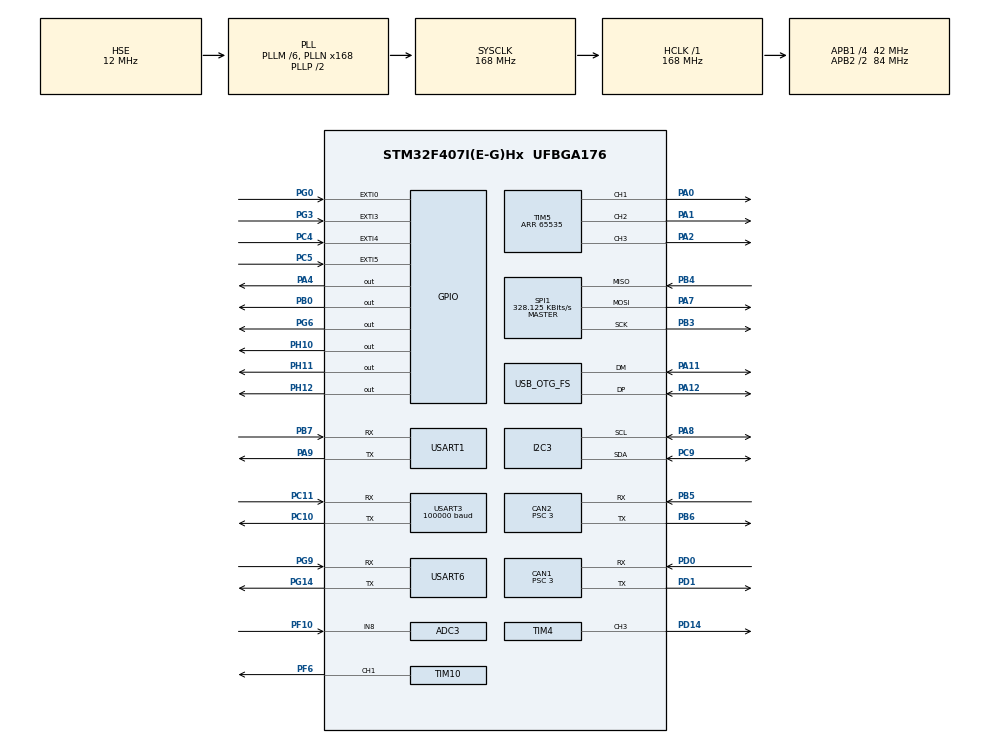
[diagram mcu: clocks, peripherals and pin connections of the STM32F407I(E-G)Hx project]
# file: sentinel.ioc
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ADC1.Channel-0\#ChannelRegularConversion=ADC_CHANNEL_TEMPSENSOR
ADC1.ClockPrescaler=ADC_CLOCK_SYNC_PCLK_DIV4
ADC1.NbrOfConversionFlag=1
ADC1.Rank-0\#ChannelRegularConversion=1
ADC1.SamplingTime-0\#ChannelRegularConversion=ADC_SAMPLETIME_3CYCLES
ADC1.master=1
ADC3.Channel-1\#ChannelRegularConversion=ADC_CHANNEL_8
ADC3.ClockPrescaler=ADC_CLOCK_SYNC_PCLK_DIV4
ADC3.NbrOfConversionFlag=1
ADC3.Rank-1\#ChannelRegularConversion=1
ADC3.SamplingTime-1\#ChannelRegularConversion=ADC_SAMPLETIME_3CYCLES
CAN1.BS1=CAN_BS1_10TQ
CAN1.BS2=CAN_BS2_3TQ
CAN1.CalculateBaudRate=1000000
CAN1.CalculateTimeBit=1000
CAN1.CalculateTimeQuantum=71.42857142857143
CAN1.NART=ENABLE
CAN1.Prescaler=3
CAN2.BS1=CAN_BS1_10TQ
CAN2.BS2=CAN_BS2_3TQ
CAN2.CalculateBaudRate=1000000
CAN2.CalculateTimeBit=1000
CAN2.CalculateTimeQuantum=71.42857142857143
CAN2.NART=ENABLE
CAN2.Prescaler=3
Dma.Request0=SPI1_RX
Dma.Request1=SPI1_TX
Dma.Request2=USART1_RX
Dma.Request3=USART1_TX
Dma.Request4=USART3_RX
Dma.Request5=USART6_RX
Dma.Request6=USART6_TX
Dma.SPI1_RX.0.Direction=DMA_PERIPH_TO_MEMORY
Dma.SPI1_RX.0.FIFOMode=DMA_FIFOMODE_DISABLE
Dma.SPI1_RX.0.Instance=DMA2_Stream2
Dma.SPI1_RX.0.MemDataAlignment=DMA_MDATAALIGN_BYTE
Dma.SPI1_RX.0.MemInc=DMA_MINC_ENABLE
Dma.SPI1_RX.0.Mode=DMA_NORMAL
Dma.SPI1_RX.0.PeriphDataAlignment=DMA_PDATAALIGN_BYTE
Dma.SPI1_RX.0.PeriphInc=DMA_PINC_DISABLE
Dma.SPI1_RX.0.Priority=DMA_PRIORITY_VERY_HIGH
Dma.SPI1_TX.1.Direction=DMA_MEMORY_TO_PERIPH
Dma.SPI1_TX.1.FIFOMode=DMA_FIFOMODE_DISABLE
Dma.SPI1_TX.1.Instance=DMA2_Stream3
Dma.SPI1_TX.1.MemDataAlignment=DMA_MDATAALIGN_BYTE
Dma.SPI1_TX.1.MemInc=DMA_MINC_ENABLE
Dma.SPI1_TX.1.Mode=DMA_NORMAL
Dma.SPI1_TX.1.PeriphDataAlignment=DMA_PDATAALIGN_BYTE
Dma.SPI1_TX.1.PeriphInc=DMA_PINC_DISABLE
Dma.SPI1_TX.1.Priority=DMA_PRIORITY_HIGH
Dma.USART1_RX.2.Direction=DMA_PERIPH_TO_MEMORY
Dma.USART1_RX.2.FIFOMode=DMA_FIFOMODE_DISABLE
Dma.USART1_RX.2.Instance=DMA2_Stream5
Dma.USART1_RX.2.MemDataAlignment=DMA_MDATAALIGN_BYTE
Dma.USART1_RX.2.MemInc=DMA_MINC_ENABLE
Dma.USART1_RX.2.Mode=DMA_NORMAL
Dma.USART1_RX.2.PeriphDataAlignment=DMA_PDATAALIGN_BYTE
Dma.USART1_RX.2.PeriphInc=DMA_PINC_DISABLE
Dma.USART1_RX.2.Priority=DMA_PRIORITY_VERY_HIGH
Dma.USART1_TX.3.Direction=DMA_MEMORY_TO_PERIPH
Dma.USART1_TX.3.FIFOMode=DMA_FIFOMODE_DISABLE
Dma.USART1_TX.3.Instance=DMA2_Stream7
Dma.USART1_TX.3.MemDataAlignment=DMA_MDATAALIGN_BYTE
Dma.USART1_TX.3.MemInc=DMA_MINC_ENABLE
Dma.USART1_TX.3.Mode=DMA_NORMAL
Dma.USART1_TX.3.PeriphDataAlignment=DMA_PDATAALIGN_BYTE
Dma.USART1_TX.3.PeriphInc=DMA_PINC_DISABLE
Dma.USART1_TX.3.Priority=DMA_PRIORITY_HIGH
Dma.USART3_RX.4.Direction=DMA_PERIPH_TO_MEMORY
Dma.USART3_RX.4.FIFOMode=DMA_FIFOMODE_DISABLE
Dma.USART3_RX.4.Instance=DMA1_Stream1
Dma.USART3_RX.4.MemDataAlignment=DMA_MDATAALIGN_BYTE
Dma.USART3_RX.4.MemInc=DMA_MINC_ENABLE
Dma.USART3_RX.4.Mode=DMA_NORMAL
Dma.USART3_RX.4.PeriphDataAlignment=DMA_PDATAALIGN_BYTE
Dma.USART3_RX.4.PeriphInc=DMA_PINC_DISABLE
Dma.USART3_RX.4.Priority=DMA_PRIORITY_LOW
Dma.USART6_RX.5.Direction=DMA_PERIPH_TO_MEMORY
Dma.USART6_RX.5.FIFOMode=DMA_FIFOMODE_DISABLE
Dma.USART6_RX.5.Instance=DMA2_Stream1
Dma.USART6_RX.5.MemDataAlignment=DMA_MDATAALIGN_BYTE
Dma.USART6_RX.5.MemInc=DMA_MINC_ENABLE
Dma.USART6_RX.5.Mode=DMA_NORMAL
Dma.USART6_RX.5.PeriphDataAlignment=DMA_PDATAALIGN_BYTE
Dma.USART6_RX.5.PeriphInc=DMA_PINC_DISABLE
Dma.USART6_RX.5.Priority=DMA_PRIORITY_HIGH
Dma.USART6_TX.6.Direction=DMA_MEMORY_TO_PERIPH
Dma.USART6_TX.6.FIFOMode=DMA_FIFOMODE_DISABLE
Dma.USART6_TX.6.Instance=DMA2_Stream6
Dma.USART6_TX.6.MemDataAlignment=DMA_MDATAALIGN_BYTE
Dma.USART6_TX.6.MemInc=DMA_MINC_ENABLE
Dma.USART6_TX.6.Mode=DMA_NORMAL
Dma.USART6_TX.6.PeriphDataAlignment=DMA_PDATAALIGN_BYTE
Dma.USART6_TX.6.PeriphInc=DMA_PINC_DISABLE
Dma.USART6_TX.6.Priority=DMA_PRIORITY_VERY_HIGH
FREERTOS.INCLUDE_eTaskGetState=1
FREERTOS.INCLUDE_pcTaskGetTaskName=1
FREERTOS.INCLUDE_uxTaskGetStackHighWaterMark=1
FREERTOS.INCLUDE_vTaskCleanUpResources=1
FREERTOS.INCLUDE_vTaskDelayUntil=1
FREERTOS.INCLUDE_xEventGroupSetBitFromISR=1
FREERTOS.INCLUDE_xQueueGetMutexHolder=1
FREERTOS.INCLUDE_xSemaphoreGetMutexHolder=1
FREERTOS.INCLUDE_xTaskAbortDelay=1
FREERTOS.INCLUDE_xTaskGetCurrentTaskHandle=1
FREERTOS.INCLUDE_xTaskGetHandle=1
FREERTOS.INCLUDE_xTimerPendFunctionCall=1
FREERTOS.Tasks01=SWITCH_Task,0,128,Switch_Task,As weak,NULL,Dynamic,NULL,NULL;Gimbal_TASK,-3,256,Gimbal_Task,As weak,NULL,Dynamic,NULL,NULL;INS_TASK,3,128,INS_Task,As weak,NULL,Dynamic,NULL,NULL;Shoot_TASK,-3,128,Shoot_Task,As weak,NULL,Dynamic,NULL,NULL;maniflod_usart,-3,128,manifold_usart_task,As weak,NULL,Dynamic,NULL,NULL;usb,-3,128,usb_task,As weak,NULL,Dynamic,NULL,NULL;detect,-2,128,detect_task,As weak,NULL,Dynamic,NULL,NULL;uptodown,0,128,uptodown_task,As weak,NULL,Dynamic,NULL,NULL;WIT_DATA_TASK,2,128,WIT_data_task,As weak,NULL,Dynamic,NULL,NULL
FREERTOS.configTOTAL_HEAP_SIZE=24576
FREERTOS.configUSE_TIMERS=1
I2C3.I2C_Mode=I2C_Fast
Mcu.Family=STM32F4
Mcu.Name=STM32F407I(E-G)Hx
Mcu.Package=UFBGA176
NVIC.CAN1_RX0_IRQn=true\:5\:0\:false\:false\:true\:true\:true\:true\:true
NVIC.CAN2_RX0_IRQn=true\:5\:0\:false\:false\:true\:true\:true\:true\:true
NVIC.DMA1_Stream1_IRQn=true\:5\:0\:false\:false\:true\:true\:false\:true\:true
NVIC.DMA2_Stream1_IRQn=true\:5\:0\:false\:false\:true\:true\:false\:true\:true
NVIC.DMA2_Stream2_IRQn=true\:5\:0\:false\:false\:true\:false\:false\:true\:true
NVIC.DMA2_Stream3_IRQn=true\:5\:0\:false\:false\:true\:true\:false\:true\:true
NVIC.DMA2_Stream5_IRQn=true\:5\:0\:false\:false\:true\:true\:false\:true\:true
NVIC.DMA2_Stream6_IRQn=true\:5\:0\:false\:false\:true\:true\:false\:true\:true
NVIC.DMA2_Stream7_IRQn=true\:5\:0\:false\:false\:true\:true\:false\:true\:true
NVIC.EXTI0_IRQn=true\:5\:0\:true\:false\:true\:true\:true\:true\:true
NVIC.EXTI3_IRQn=true\:5\:0\:false\:false\:true\:true\:true\:true\:true
NVIC.EXTI4_IRQn=true\:5\:0\:false\:false\:true\:true\:true\:true\:true
NVIC.EXTI9_5_IRQn=true\:5\:0\:false\:false\:true\:true\:true\:true\:true
NVIC.OTG_FS_IRQn=true\:5\:0\:false\:false\:true\:true\:true\:true\:true
NVIC.PriorityGroup=NVIC_PRIORITYGROUP_4
NVIC.TIM2_IRQn=true\:15\:0\:false\:false\:true\:false\:false\:true\:true
NVIC.TIM3_IRQn=true\:5\:0\:false\:false\:true\:true\:true\:true\:true
NVIC.TimeBase=TIM2_IRQn
NVIC.TimeBaseIP=TIM2
NVIC.USART1_IRQn=true\:5\:0\:false\:false\:true\:true\:false\:true\:true
NVIC.USART3_IRQn=true\:5\:0\:false\:false\:true\:true\:true\:true\:true
NVIC.USART6_IRQn=true\:5\:0\:false\:false\:true\:true\:true\:true\:true
PA0-WKUP.Signal=S_TIM5_CH1
PA1.Signal=S_TIM5_CH2
PA11.Mode=Device_Only
PA11.Signal=USB_OTG_FS_DM
PA12.Mode=Device_Only
PA12.Signal=USB_OTG_FS_DP
PA13.Mode=Serial_Wire
PA13.Signal=SYS_JTMS-SWDIO
PA14.Mode=Serial_Wire
PA14.Signal=SYS_JTCK-SWCLK
PA2.Signal=S_TIM5_CH3
PA4.GPIO_PuPd=GPIO_PULLUP
PA4.GPIO_Speed=GPIO_SPEED_FREQ_HIGH
PA4.PinState=GPIO_PIN_SET
PA4.Signal=GPIO_Output
PA7.Mode=Full_Duplex_Master
PA7.Signal=SPI1_MOSI
PA8.Mode=I2C
PA8.Signal=I2C3_SCL
PA9.Mode=Asynchronous
PA9.Signal=USART1_TX
PB0.GPIO_PuPd=GPIO_PULLUP
PB0.GPIO_Speed=GPIO_SPEED_FREQ_HIGH
PB0.PinState=GPIO_PIN_SET
PB0.Signal=GPIO_Output
PB3.Mode=Full_Duplex_Master
PB3.Signal=SPI1_SCK
PB4.Mode=Full_Duplex_Master
PB4.Signal=SPI1_MISO
PB5.Mode=CAN_Activate
PB5.Signal=CAN2_RX
PB6.Mode=CAN_Activate
PB6.Signal=CAN2_TX
PB7.Mode=Asynchronous
PB7.Signal=USART1_RX
PC10.Mode=Asynchronous
PC10.Signal=USART3_TX
PC11.Mode=Asynchronous
PC11.Signal=USART3_RX
PC4.GPIO_ModeDefaultEXTI=GPIO_MODE_IT_FALLING
PC4.GPIO_PuPd=GPIO_PULLUP
PC4.Signal=GPXTI4
PC5.GPIO_ModeDefaultEXTI=GPIO_MODE_IT_FALLING
PC5.GPIO_PuPd=GPIO_PULLUP
PC5.Signal=GPXTI5
PC9.Mode=I2C
PC9.Signal=I2C3_SDA
PD0.Mode=CAN_Activate
PD0.Signal=CAN1_RX
PD1.Mode=CAN_Activate
PD1.Signal=CAN1_TX
PD14.Signal=S_TIM4_CH3
PF10.Mode=IN8
PF10.Signal=ADC3_IN8
PF6.Signal=S_TIM10_CH1
PG0.GPIO_PuPd=GPIO_PULLUP
PG0.Signal=GPXTI0
PG14.Mode=Asynchronous
PG14.Signal=USART6_TX
PG3.GPIO_ModeDefaultEXTI=GPIO_MODE_IT_FALLING
PG3.GPIO_PuPd=GPIO_PULLUP
PG3.Signal=GPXTI3
PG6.GPIO_PuPd=GPIO_PULLUP
PG6.GPIO_Speed=GPIO_SPEED_FREQ_HIGH
PG6.PinState=GPIO_PIN_SET
PG6.Signal=GPIO_Output
PG9.Mode=Asynchronous
PG9.Signal=USART6_RX
PH0-OSC_IN.Mode=HSE-External-Oscillator
PH0-OSC_IN.Signal=RCC_OSC_IN
PH1-OSC_OUT.Mode=HSE-External-Oscillator
PH1-OSC_OUT.Signal=RCC_OSC_OUT
PH10.GPIO_PuPd=GPIO_PULLDOWN
PH10.GPIO_Speed=GPIO_SPEED_FREQ_VERY_HIGH
PH10.PinState=GPIO_PIN_RESET
PH10.Signal=GPIO_Output
PH11.GPIO_PuPd=GPIO_PULLDOWN
PH11.GPIO_Speed=GPIO_SPEED_FREQ_VERY_HIGH
PH11.Signal=GPIO_Output
PH12.GPIO_PuPd=GPIO_PULLDOWN
PH12.GPIO_Speed=GPIO_SPEED_FREQ_VERY_HIGH
PH12.Signal=GPIO_Output
ProjectManager.HeapSize=0x200
ProjectManager.StackSize=0x400
ProjectManager.TargetToolchain=MDK-ARM V5.32
RCC.48MHZClocksFreq_Value=48000000
RCC.AHBFreq_Value=168000000
RCC.APB1CLKDivider=RCC_HCLK_DIV4
RCC.APB1Freq_Value=42000000
RCC.APB1TimFreq_Value=84000000
RCC.APB2CLKDivider=RCC_HCLK_DIV2
RCC.APB2Freq_Value=84000000
RCC.APB2TimFreq_Value=168000000
RCC.CortexFreq_Value=168000000
RCC.HCLKFreq_Value=168000000
RCC.HSE_VALUE=12000000
RCC.HSI_VALUE=16000000
RCC.LSE_VALUE=32768
RCC.PLLM=6
RCC.PLLN=168
RCC.PLLQ=7
RCC.SYSCLKFreq_VALUE=168000000
RCC.SYSCLKSource=RCC_SYSCLKSOURCE_PLLCLK
RCC.VCOOutputFreq_Value=336000000
SH.S_TIM10_CH1.0=TIM10_CH1,PWM Generation1 CH1
SH.S_TIM4_CH3.0=TIM4_CH3,PWM Generation3 CH3
SH.S_TIM5_CH1.0=TIM5_CH1,PWM Generation1 CH1
SH.S_TIM5_CH2.0=TIM5_CH2,PWM Generation2 CH2
SH.S_TIM5_CH3.0=TIM5_CH3,PWM Generation3 CH3
SPI1.BaudRatePrescaler=SPI_BAUDRATEPRESCALER_256
SPI1.CLKPhase=SPI_PHASE_2EDGE
SPI1.CLKPolarity=SPI_POLARITY_HIGH
SPI1.CalculateBaudRate=328.125 KBits/s
SPI1.Direction=SPI_DIRECTION_2LINES
SPI1.Mode=SPI_MODE_MASTER
SPI1.VirtualType=VM_MASTER
TIM1.Prescaler=83
TIM10.Channel=TIM_CHANNEL_1
TIM10.Period=4999
TIM3.AutoReloadPreload=TIM_AUTORELOAD_PRELOAD_ENABLE
TIM3.Period=499
TIM3.Prescaler=83
TIM4.Channel-PWM\ Generation3\ CH3=TIM_CHANNEL_3
TIM4.Period=400-1
TIM4.Prescaler=84-1
TIM4.Pulse-PWM\ Generation3\ CH3=200
TIM5.Channel-PWM\ Generation1\ CH1=TIM_CHANNEL_1
TIM5.Channel-PWM\ Generation2\ CH2=TIM_CHANNEL_2
TIM5.Channel-PWM\ Generation3\ CH3=TIM_CHANNEL_3
TIM5.Period=65535
USART1.VirtualMode=VM_ASYNC
USART3.BaudRate=100000
USART3.VirtualMode=VM_ASYNC
USART6.VirtualMode=VM_ASYNC
USB_DEVICE.CLASS_NAME_FS=CDC
USB_DEVICE.VirtualMode-CDC_FS=Cdc
USB_DEVICE.VirtualModeFS=Cdc_FS
USB_OTG_FS.VirtualMode=Device_Only
VP_ADC1_TempSens_Input.Mode=IN-TempSens
VP_CRC_VS_CRC.Mode=CRC_Activate
VP_FREERTOS_VS_CMSIS_V1.Mode=CMSIS_V1
VP_SYS_VS_tim2.Mode=TIM2
VP_TIM10_VS_ClockSourceINT.Mode=Enable_Timer
VP_TIM1_VS_ClockSourceINT.Mode=Internal
VP_TIM3_VS_ClockSourceINT.Mode=Internal
VP_USB_DEVICE_VS_USB_DEVICE_CDC_FS.Mode=CDC_FS
board=custom

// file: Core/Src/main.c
/* USER CODE BEGIN Header */
/**
  ******************************************************************************
  * @file           : main.c
  * @brief          : Main program body
  ******************************************************************************
  * @attention
  *
  * Copyright (c) 2026 STMicroelectronics.
  * All rights reserved.
  *
  * This software is licensed under terms that can be found in the LICENSE file
  * in the root directory of this software component.
  * If no LICENSE file comes with this software, it is provided AS-IS.
  *
  ******************************************************************************
  */
/* USER CODE END Header */
#include "main.h"
#include "cmsis_os.h"
#include "adc.h"
#include "can.h"
#include "crc.h"
#include "dma.h"
#include "i2c.h"
#include "spi.h"
#include "tim.h"
#include "usart.h"
#include "usb_device.h"
#include "gpio.h"

/* USER CODE BEGIN Includes */
#include "bsp_can.h"
#include "remote_control.h"
#include "bsp_delay.h"
#include "referee.h"
#include "referee_usart_task.h"
#include "bsp_usb.h"
#include "dm_imu.h"

/* USER CODE END Includes */

void SystemClock_Config(void);
void MX_FREERTOS_Init(void);

int main(void)
{

  /* MCU Configuration--------------------------------------------------------*/

  /* Reset of all peripherals, Initializes the Flash interface and the Systick. */
  HAL_Init();

  /* Configure the system clock */
  SystemClock_Config();

  /* Initialize all configured peripherals */
  MX_GPIO_Init();
  MX_DMA_Init();
  MX_ADC1_Init();
  MX_ADC3_Init();
  MX_CAN1_Init();
  MX_CAN2_Init();
  MX_I2C3_Init();
  MX_SPI1_Init();
  MX_TIM4_Init();
  MX_TIM5_Init();
  MX_TIM10_Init();
  MX_USART1_UART_Init();
  MX_USART3_UART_Init();
  MX_USART6_UART_Init();
  MX_CRC_Init();
  MX_TIM1_Init();
  MX_TIM3_Init();
  /* USER CODE BEGIN 2 */
    HAL_TIM_PWM_Start(&htim5, TIM_CHANNEL_1);
	HAL_TIM_PWM_Start(&htim5, TIM_CHANNEL_2);
	HAL_TIM_PWM_Start(&htim5, TIM_CHANNEL_3);
    remote_control_init();
    can_filter_init();
    delay_init();
	HAL_TIM_PWM_Start(&htim10,TIM_CHANNEL_1);

	usb_init();

	imu.imu_reset_flag = 1;
  /* USER CODE END 2 */

  /* Call init function for freertos objects (in cmsis_os2.c) */
  MX_FREERTOS_Init();

  /* Start scheduler */
  osKernelStart();

  /* We should never get here as control is now taken by the scheduler */

  /* Infinite loop */
  while (1)
  {

  }
}

void SystemClock_Config(void)
{
  RCC_OscInitTypeDef RCC_OscInitStruct = {0};
  RCC_ClkInitTypeDef RCC_ClkInitStruct = {0};

  /** Configure the main internal regulator output voltage
  */
  __HAL_RCC_PWR_CLK_ENABLE();
  __HAL_PWR_VOLTAGESCALING_CONFIG(PWR_REGULATOR_VOLTAGE_SCALE1);

  /** Initializes the RCC Oscillators according to the specified parameters
  * in the RCC_OscInitTypeDef structure.
  */
  RCC_OscInitStruct.OscillatorType = RCC_OSCILLATORTYPE_HSE;
  RCC_OscInitStruct.HSEState = RCC_HSE_ON;
  RCC_OscInitStruct.PLL.PLLState = RCC_PLL_ON;
  RCC_OscInitStruct.PLL.PLLSource = RCC_PLLSOURCE_HSE;
  RCC_OscInitStruct.PLL.PLLM = 6;
  RCC_OscInitStruct.PLL.PLLN = 168;
  RCC_OscInitStruct.PLL.PLLP = RCC_PLLP_DIV2;
  RCC_OscInitStruct.PLL.PLLQ = 7;
  if (HAL_RCC_OscConfig(&RCC_OscInitStruct) != HAL_OK)
  {
    Error_Handler();
  }

  /** Initializes the CPU, AHB and APB buses clocks
  */
  RCC_ClkInitStruct.ClockType = RCC_CLOCKTYPE_HCLK|RCC_CLOCKTYPE_SYSCLK
                              |RCC_CLOCKTYPE_PCLK1|RCC_CLOCKTYPE_PCLK2;
  RCC_ClkInitStruct.SYSCLKSource = RCC_SYSCLKSOURCE_PLLCLK;
  RCC_ClkInitStruct.AHBCLKDivider = RCC_SYSCLK_DIV1;
  RCC_ClkInitStruct.APB1CLKDivider = RCC_HCLK_DIV4;
  RCC_ClkInitStruct.APB2CLKDivider = RCC_HCLK_DIV2;

  if (HAL_RCC_ClockConfig(&RCC_ClkInitStruct, FLASH_LATENCY_5) != HAL_OK)
  {
    Error_Handler();
  }
}

void HAL_TIM_PeriodElapsedCallback(TIM_HandleTypeDef *htim)
{
  if (htim->Instance == TIM2)
  {
    HAL_IncTick();
  }
}

void Error_Handler(void)
{
  __disable_irq();
  while (1)
  {
  }
}

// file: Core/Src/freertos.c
/* USER CODE BEGIN Header */
/**
  ******************************************************************************
  * File Name          : freertos.c
  * Description        : Code for freertos applications
  ******************************************************************************
  * @attention
  *
  * Copyright (c) 2026 STMicroelectronics.
  * All rights reserved.
  *
  * This software is licensed under terms that can be found in the LICENSE file
  * in the root directory of this software component.
  * If no LICENSE file comes with this software, it is provided AS-IS.
  *
  ******************************************************************************
  */
/* USER CODE END Header */

#include "FreeRTOS.h"
#include "task.h"
#include "main.h"
#include "cmsis_os.h"

osThreadId SWITCH_TaskHandle;
osThreadId Gimbal_TASKHandle;
osThreadId INS_TASKHandle;
osThreadId Shoot_TASKHandle;
osThreadId maniflod_usartHandle;
osThreadId usbHandle;
osThreadId detectHandle;
osThreadId uptodownHandle;
osThreadId WIT_DATA_TASKHandle;

void Switch_Task(void const * argument);
void Gimbal_Task(void const * argument);
void INS_Task(void const * argument);
void Shoot_Task(void const * argument);
void manifold_usart_task(void const * argument);
void usb_task(void const * argument);
void detect_task(void const * argument);
void uptodown_task(void const * argument);
void WIT_data_task(void const * argument);

extern void MX_USB_DEVICE_Init(void);
void MX_FREERTOS_Init(void); /* (MISRA C 2004 rule 8.1) */

/* GetIdleTaskMemory prototype (linked to static allocation support) */
void vApplicationGetIdleTaskMemory( StaticTask_t **ppxIdleTaskTCBBuffer, StackType_t **ppxIdleTaskStackBuffer, uint32_t *pulIdleTaskStackSize );

/* GetTimerTaskMemory prototype (linked to static allocation support) */
void vApplicationGetTimerTaskMemory( StaticTask_t **ppxTimerTaskTCBBuffer, StackType_t **ppxTimerTaskStackBuffer, uint32_t *pulTimerTaskStackSize );

/* USER CODE BEGIN GET_IDLE_TASK_MEMORY */
static StaticTask_t xIdleTaskTCBBuffer;
static StackType_t xIdleStack[configMINIMAL_STACK_SIZE];

void vApplicationGetIdleTaskMemory( StaticTask_t **ppxIdleTaskTCBBuffer, StackType_t **ppxIdleTaskStackBuffer, uint32_t *pulIdleTaskStackSize )
{
  *ppxIdleTaskTCBBuffer = &xIdleTaskTCBBuffer;
  *ppxIdleTaskStackBuffer = &xIdleStack[0];
  *pulIdleTaskStackSize = configMINIMAL_STACK_SIZE;
  /* place for user code */
}
/* USER CODE END GET_IDLE_TASK_MEMORY */

/* USER CODE BEGIN GET_TIMER_TASK_MEMORY */
static StaticTask_t xTimerTaskTCBBuffer;
static StackType_t xTimerStack[configTIMER_TASK_STACK_DEPTH];

void vApplicationGetTimerTaskMemory( StaticTask_t **ppxTimerTaskTCBBuffer, StackType_t **ppxTimerTaskStackBuffer, uint32_t *pulTimerTaskStackSize )
{
  *ppxTimerTaskTCBBuffer = &xTimerTaskTCBBuffer;
  *ppxTimerTaskStackBuffer = &xTimerStack[0];
  *pulTimerTaskStackSize = configTIMER_TASK_STACK_DEPTH;
  /* place for user code */
}
/* USER CODE END GET_TIMER_TASK_MEMORY */

void MX_FREERTOS_Init(void) {

  /* Create the thread(s) */
  /* definition and creation of SWITCH_Task */
  osThreadDef(SWITCH_Task, Switch_Task, osPriorityNormal, 0, 128);
  SWITCH_TaskHandle = osThreadCreate(osThread(SWITCH_Task), NULL);

  /* definition and creation of Gimbal_TASK */
  osThreadDef(Gimbal_TASK, Gimbal_Task, osPriorityIdle, 0, 256);
  Gimbal_TASKHandle = osThreadCreate(osThread(Gimbal_TASK), NULL);

  /* definition and creation of INS_TASK */
  osThreadDef(INS_TASK, INS_Task, osPriorityRealtime, 0, 128);
  INS_TASKHandle = osThreadCreate(osThread(INS_TASK), NULL);

  /* definition and creation of Shoot_TASK */
  osThreadDef(Shoot_TASK, Shoot_Task, osPriorityIdle, 0, 128);
  Shoot_TASKHandle = osThreadCreate(osThread(Shoot_TASK), NULL);

  /* definition and creation of maniflod_usart */
  osThreadDef(maniflod_usart, manifold_usart_task, osPriorityIdle, 0, 128);
  maniflod_usartHandle = osThreadCreate(osThread(maniflod_usart), NULL);

  /* definition and creation of usb */
  osThreadDef(usb, usb_task, osPriorityIdle, 0, 128);
  usbHandle = osThreadCreate(osThread(usb), NULL);

  /* definition and creation of detect */
  osThreadDef(detect, detect_task, osPriorityLow, 0, 128);
  detectHandle = osThreadCreate(osThread(detect), NULL);

  /* definition and creation of uptodown */
  osThreadDef(uptodown, uptodown_task, osPriorityNormal, 0, 128);
  uptodownHandle = osThreadCreate(osThread(uptodown), NULL);

  /* definition and creation of WIT_DATA_TASK */
  osThreadDef(WIT_DATA_TASK, WIT_data_task, osPriorityHigh, 0, 128);
  WIT_DATA_TASKHandle = osThreadCreate(osThread(WIT_DATA_TASK), NULL);

}

__weak void Switch_Task(void const * argument)
{
  /* init code for USB_DEVICE */
  MX_USB_DEVICE_Init();
  for(;;)
  {
    osDelay(1);
  }
}

__weak void Gimbal_Task(void const * argument)
{
  for(;;)
  {
    osDelay(1);
  }
}

__weak void INS_Task(void const * argument)
{
  for(;;)
  {
    osDelay(1);
  }
}

__weak void Shoot_Task(void const * argument)
{
  for(;;)
  {
    osDelay(1);
  }
}

__weak void manifold_usart_task(void const * argument)
{
  for(;;)
  {
    osDelay(1);
  }
}

__weak void usb_task(void const * argument)
{
  for(;;)
  {
    osDelay(1);
  }
}

__weak void detect_task(void const * argument)
{
  for(;;)
  {
    osDelay(1);
  }
}

__weak void uptodown_task(void const * argument)
{
  for(;;)
  {
    osDelay(1);
  }
}

__weak void WIT_data_task(void const * argument)
{
  for(;;)
  {
    osDelay(1);
  }
}
